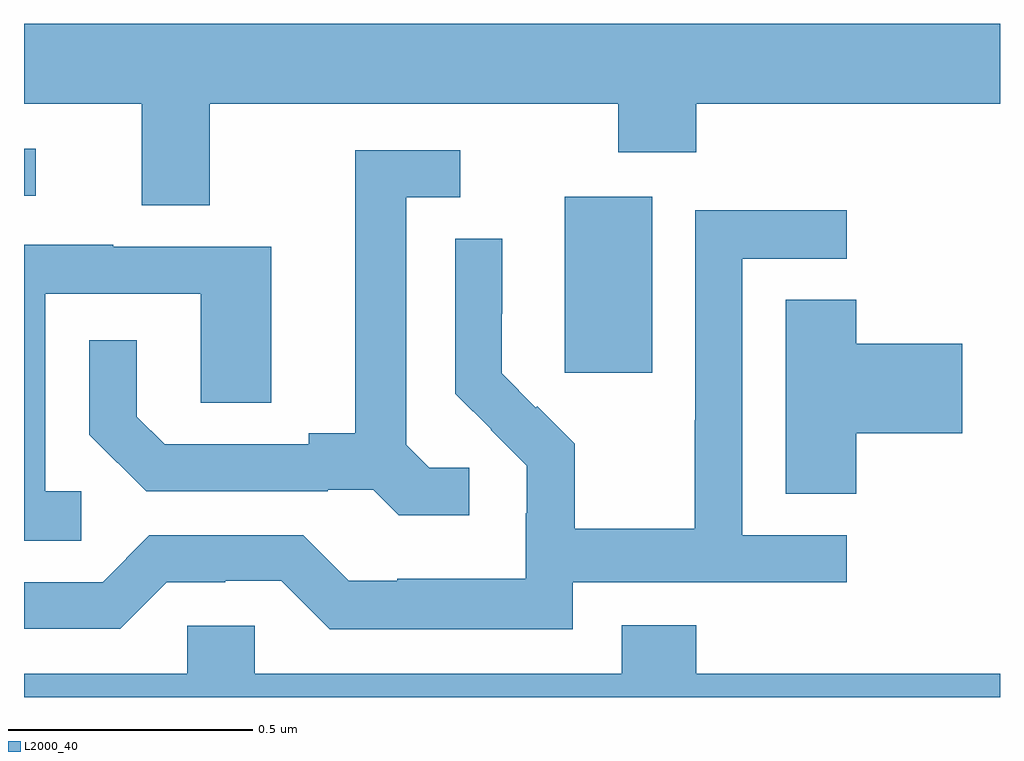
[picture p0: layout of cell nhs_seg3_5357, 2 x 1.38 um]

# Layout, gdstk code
import gdstk
lib = gdstk.Library(unit=1e-6, precision=1e-09)
def R(c, l, rs):  # rectangles x0, y0, x1, y1
    for r in rs: c.add(gdstk.rectangle(r[:2], r[2:], *l))
def P(c, l, *ps):  # polygons
    for p in ps: c.add(gdstk.Polygon(p, *l))
L2000_40 = (2000, 40)

nhs_seg3_5357 = lib.new_cell('nhs_seg3_5357')
R(nhs_seg3_5357, L2000_40, [(179.108,667.065,179.287,667.426), (178,667.428,178.024,667.524)])
P(nhs_seg3_5357, L2000_40, [(178.381,667.616),(179.218,667.616),(179.218,667.517),(179.378,667.517),(179.378,667.616),(180,667.616),(180,667.78),(178,667.78),(178,667.616),(178.241,667.616),(178.241,667.408),(178.381,667.408)],
  [(178.912,666.87),(178.83,666.87),(178.783,666.917),(178.783,667.425),(178.894,667.425),(178.894,667.521),(178.679,667.521),(178.679,666.941),(178.583,666.941),(178.583,666.918),(178.288,666.918),(178.231,666.975),(178.231,667.132),(178.134,667.132),(178.134,666.938),(178.25,666.822),(178.622,666.822),(178.622,666.825),(178.716,666.825),(178.768,666.773),(178.912,666.773)],
  [(179.124,666.636),(179.686,666.636),(179.686,666.732),(179.472,666.732),(179.472,667.299),(179.686,667.299),(179.686,667.398),(179.376,667.398),(179.376,666.968),(179.374,666.968),(179.374,666.745),(179.129,666.745),(179.129,666.919),(179.052,666.996),(179.049,666.993),(178.979,667.064),(178.979,667.186),(178.98,667.186),(178.98,667.34),(178.884,667.34),(178.884,667.022),(178.957,666.949),(178.956,666.948),(179.03,666.874),(179.03,666.777),(179.028,666.777),(179.028,666.643),(178.765,666.643),(178.765,666.639),(178.665,666.639),(178.572,666.732),(178.257,666.732),(178.161,666.636),(178,666.636),(178,666.54),(178.197,666.54),(178.293,666.636),(178.412,666.636),(178.412,666.639),(178.527,666.639),(178.627,666.539),(179.124,666.539)],
  [(178.117,666.822),(178.044,666.822),(178.044,667.227),(178.362,667.227),(178.362,667.003),(178.507,667.003),(178.507,667.323),(178.183,667.323),(178.183,667.327),(178,667.327),(178,666.721),(178.117,666.721)],
  [(179.705,666.941),(179.923,666.941),(179.923,667.124),(179.705,667.124),(179.705,667.214),(179.561,667.214),(179.561,666.817),(179.705,666.817)],
  [(180,666.448),(179.378,666.448),(179.378,666.547),(179.225,666.547),(179.225,666.448),(178.473,666.448),(178.473,666.546),(178.335,666.546),(178.335,666.448),(178,666.448),(178,666.4),(180,666.4)])

lib.write_gds('nhs_seg3_5357.gds')
